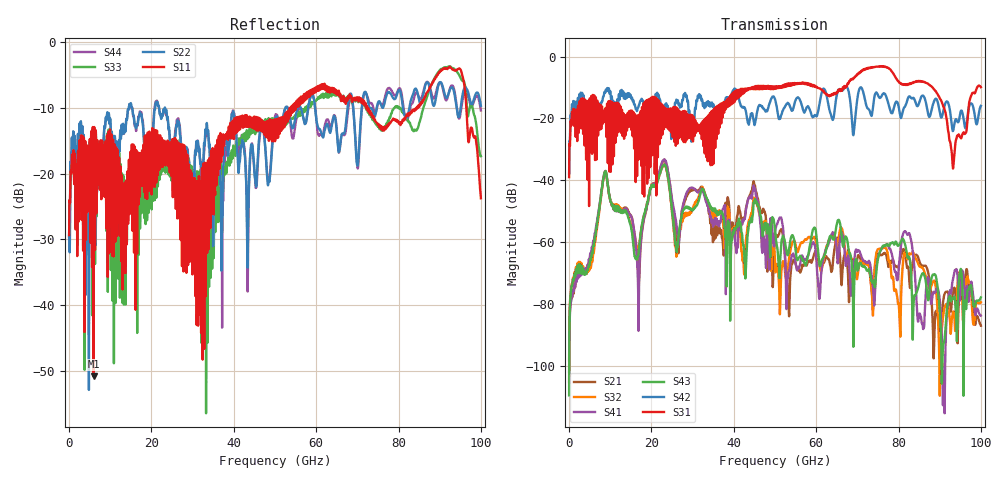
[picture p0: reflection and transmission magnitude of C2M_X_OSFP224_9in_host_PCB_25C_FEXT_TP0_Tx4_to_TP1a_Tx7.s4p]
# GHz S RI R 45
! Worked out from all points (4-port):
!   4000 points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, 25 MHz to 100 GHz, reference 45 ohm
!   strongest paths, dB at 25 MHz, 25.02 GHz, 50.02 GHz, 75.03 GHz, 100 GHz:
!     S31: -39.0, -17.0, -10.4, -3.2, -9.9
!     S42: -37.9, -22.2, -13.8, -12.5, -15.9
!     S43: -109.6, -50.4, -55.9, -65.4, -77.9
!     S41: -102.1, -46.4, -56.8, -65.1, -83.8
!     S32: -98.4, -51.3, -66.3, -62.3, -79.5
!     S21: -105.3, -47.3, -58.6, -63.8, -87.1
!   lowest |S11| = -50.9 dB at 5.95 GHz (marker M1), VSWR 1.01, Z = 45.2 - j0.207 ohm
!   |S11| at or under -10 dB: start of sweep to 53.92 GHz; 72.45 GHz to 84.39 GHz (11.94 GHz wide, 15.2 % of centre); 96.47 GHz to end of sweep (the widest 3 of 8)
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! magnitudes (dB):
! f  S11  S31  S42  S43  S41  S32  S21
! 25 MHz  -29.4  -39.0  -37.9  -109.6  -102.1  -98.4  -105.3
! 5.95 GHz  -50.9  -30.8  -17.3  -61.2  -59.6  -63.6  -61.2
! 8.75 GHz  -17.6  -19.5  -11.7  -37.2  -37.1  -37.5  -37.4
! 16.85 GHz  -23.0  -28.8  -16.3  -64.1  -84.3  -62.0  -72.7
! 23.07 GHz  -18.0  -21.9  -17.5  -35.0  -33.3  -35.1  -33.5
! 26.07 GHz  -15.3  -16.8  -13.9  -63.1  -54.2  -64.7  -56.3
! 100 GHz  -23.8  -9.9  -15.9  -77.9  -83.8  -79.5  -87.1
